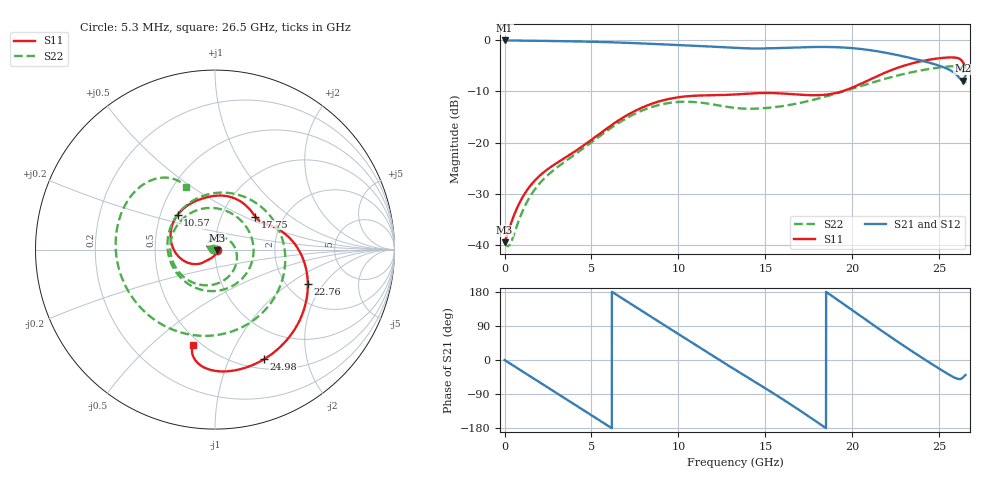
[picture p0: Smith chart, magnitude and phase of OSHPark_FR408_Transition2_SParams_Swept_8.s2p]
! TOUCHSTONE file generated by CST MICROWAVE STUDIO
! Date and time: Tue Jan  7 09:43:13 2020
! Project name: OSHPark_FR408_Transition2.cst
! Parameters = {GND_Plane_XMax=11.5; Cap_Disk_XOffset=0; Cap_Disk2_YCenter=-1.03; Cap_Disk_YCenter=1.03; Cap_Disk_XCenter=7.39; Cap_Disk_Radius=0.5; BottomSupport_Left_YMax=4.76; BottomSupport_Left_YMin=3.74; BottomSupport_Right_YMax=-3.74; BottomSupport_Right_YMin=-4.76; BottomSupport_XMax=11.64; B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
! Header version: 2015
! Port assignment regex: !\s*Touchstone port\s*([0-9]+)\s*=\s*CST MWS port\s*([0-9]+)\s*\(\"(.*)\"\)(\s*mode\s*([0-9]+))?.*
! Touchstone port assignment:
! Touchstone port 1 = CST MWS port 1 ("")
! Touchstone port 2 = CST MWS port 2 ("")
# GHz S MA R 50
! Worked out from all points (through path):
!   5000 points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, 5.3 MHz to 26.5 GHz, reference 50 ohm
!   highest |S21| = 0.00 dB at 5.3 MHz (marker M1); lowest = -7.9 dB at 26.35 GHz (marker M2)
!   group delay of S21, straight-line fit = 82.3 ps
!   lowest |S11| = -39.5 dB at 5.3 MHz (marker M3), VSWR 1.02, Z = 50.9 - j0.51 ohm
!   |S11| at or under -10 dB: start of sweep to 19.38 GHz
!   |S22| runs from -40.3 to -5.0 dB; largest |S21 - S12| = 0
!   S11 on the Smith chart (normalised r, x): 5.3 MHz: 1.02, -0.01; 10.57 GHz: 0.61, +0.26; 17.75 GHz: 1.44, +0.58; 22.76 GHz: 2.59, -1.41; 24.98 GHz: 0.62, -1.36; 26.5 GHz: 0.46, -0.69
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0.0053  0.01056 -28.3  1 -0.2  1 -0.2  0.01064 151.0
1.1183  0.03071 -92.0  0.9958 -32.5  0.9958 -32.5  0.02283 -166.9
2.4009  0.05352 -114.6  0.9895 -69.9  0.9895 -69.9  0.04648 147.7
4.4255  0.09053 -130.6  0.9765 -128.9  0.9765 -128.9  0.08507 50.1
6.5031  0.1626 -152.2  0.9553 170.3  0.9553 170.3  0.1535 -47.0
8.8404  0.2515 168.0  0.9201 102.1  0.9201 102.1  0.2324 -140.5
10.5682  0.2846 137.1  0.893 51.9  0.893 51.9  0.251 154.7
11.9197  0.2906 115.7  0.8702 12.7  0.8702 12.7  0.2373 104.4
13.2553  0.2958 97.3  0.8456 -25.6  0.8456 -25.6  0.2182 53.7
15.5714  0.3046 64.4  0.8404 -91.2  0.8404 -91.2  0.2226 -54.4
17.6702  0.2907 39.9  0.8623 -154.3  0.8623 -154.3  0.2598 -171.6
17.7497  0.2906 39.2  0.8627 -156.8  0.8627 -156.8  0.2619 -176.1
18.7567  0.2987 31.6  0.8621 171.4  0.8621 171.4  0.2915 127.2
19.7849  0.3342 24.0  0.8465 138.3  0.8465 138.3  0.3291 70.6
20.9191  0.4075 11.3  0.8077 101.6  0.8077 101.6  0.3774 11.6
22.0851  0.4996 -7.5  0.7484 64.5  0.7484 64.5  0.4304 -43.8
22.7635  0.5511 -20.2  0.7088 43.4  0.7088 43.4  0.4607 -73.6
23.8288  0.619 -41.5  0.6432 11.1  0.6432 11.1  0.5043 -117.8
24.9842  0.6688 -65.8  0.5668 -22.6  0.5668 -22.6  0.5428 -164.2
25.8163  0.6812 -85.0  0.4877 -45.2  0.4877 -45.2  0.5598 159.4
26.3463  0.6166 -100.9  0.4035 -46.4  0.4035 -46.4  0.4931 125.5
26.5  0.5429 -102.8  0.45 -39.5  0.45 -39.5  0.3797 114.7
